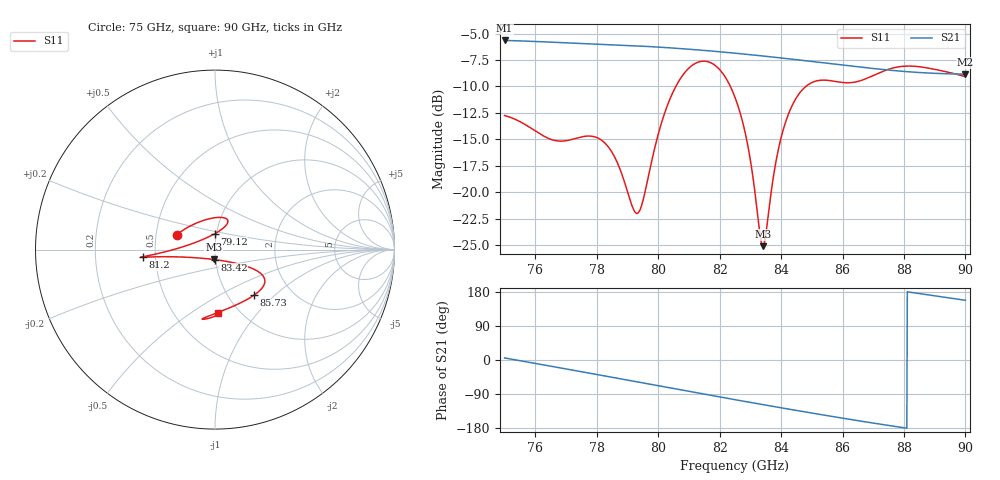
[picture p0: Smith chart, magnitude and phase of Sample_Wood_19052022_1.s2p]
!SWISSto12 MCK measurement data
!name=Sample_Wood_19052022_1
!thickness[mm]=8.300
# GHz S RI R 50.0
!freq ReS11 ImS11 ReS21 ImS21 ReS12 ImS12 ReS22 ImS22
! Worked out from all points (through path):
!   961 points, 75 GHz to 90 GHz, reference 50 ohm
!   highest |S21| = -5.66 dB at 75 GHz (marker M1); lowest = -8.8 dB at 90 GHz (marker M2)
!   group delay of S21, straight-line fit = 39.1 ps
!   lowest |S11| = -25.1 dB at 83.41 GHz (marker M3), VSWR 1.12, Z = 49 - j5.41 ohm
!   |S11| at or under -10 dB: start of sweep to 80.57 GHz; 82.35 GHz to 84.81 GHz (2.459 GHz wide, 2.94 % of centre)
!   S12 and S22 are empty: the file has one direction only
!   S11 on the Smith chart (normalised r, x): 75 GHz: 0.64, +0.11; 79.12 GHz: 0.98, +0.17; 81.2 GHz: 0.42, -0.04; 83.42 GHz: 0.99, -0.11; 85.73 GHz: 1.31, -0.75; 90 GHz: 0.80, -0.64
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75  -0.2144 0.0841  0.519 0.0493  0 0  0 0
76.57812  -0.0805 0.1569  0.4878 -0.1531  0 0  0 0
77.5  0.033 0.1795  0.433 -0.2588  0 0  0 0
78.39062  0.0694 0.1471  0.3582 -0.3464  0 0  0 0
79.125  -0.00218 0.0881  0.2829 -0.4036  0 0  0 0
79.42188  -0.0565 0.0613  0.2497 -0.4221  0 0  0 0
80  -0.1871 0.0132  0.1816 -0.4498  0 0  0 0
80.5625  -0.3132 -0.021  0.1129 -0.4656  0 0  0 0
81.20312  -0.4039 -0.0399  0.0342 -0.4702  0 0  0 0
81.89062  -0.3911 -0.0419  -0.0477 -0.46  0 0  0 0
82.5  -0.278 -0.0395  -0.1157 -0.4389  0 0  0 0
82.92188  -0.159 -0.0424  -0.1592 -0.4184  0 0  0 0
83.3125  -0.0366 -0.0517  -0.1965 -0.3956  0 0  0 0
83.40625  -0.0073 -0.0551  -0.2049 -0.3896  0 0  0 0
83.42188  -0.00246 -0.0557  -0.2063 -0.3886  0 0  0 0
83.8125  0.1113 -0.0752  -0.2394 -0.3618  0 0  0 0
84.09375  0.1796 -0.0942  -0.2611 -0.3409  0 0  0 0
84.5  0.2487 -0.1281  -0.2891 -0.3088  0 0  0 0
85  0.2778 -0.1774  -0.3179 -0.2667  0 0  0 0
85.73438  0.2172 -0.2541  -0.3491 -0.2018  0 0  0 0
87.5  -0.054 -0.3773  -0.3746 -0.0478  0 0  0 0
90  0.0166 -0.3509  -0.334 0.1377  0 0  0 0
